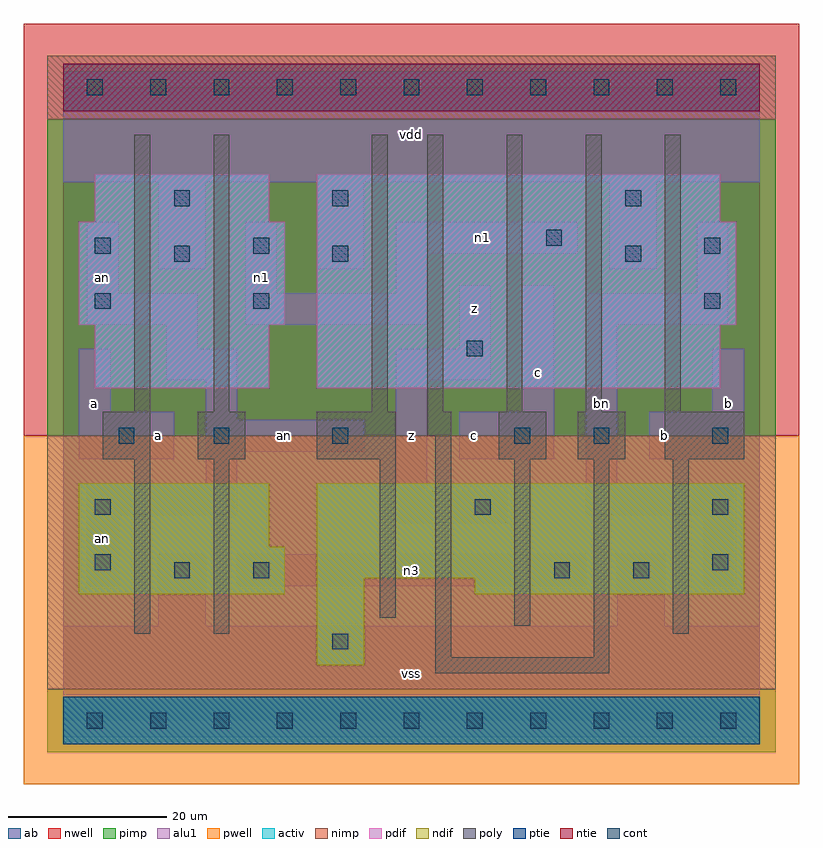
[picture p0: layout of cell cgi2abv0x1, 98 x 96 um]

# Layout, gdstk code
import gdstk
lib = gdstk.Library(unit=1e-6, precision=1e-09)
def R(c, l, rs):  # rectangles x0, y0, x1, y1
    for r in rs: c.add(gdstk.rectangle(r[:2], r[2:], *l))
def A(c, l, x, y, w, h, nx, ny, dx, dy):  # array of equal rectangles
    R(c, l, [(x+i*dx, y+j*dy, x+i*dx+w, y+j*dy+h) for i in range(nx) for j in range(ny)])
ndif = (3, 0)
pdif = (4, 0)
ntie = (5, 0)
ptie = (6, 0)
cont = (25, 0)
pwell = (41, 0)
nwell = (42, 0)
activ = (43, 0)
pimp = (44, 0)
nimp = (45, 0)
poly = (46, 0)
alu1 = (49, 0)
ab = (63, 0)

cgi2abv0x1 = lib.new_cell('cgi2abv0x1')
R(cgi2abv0x1, ndif, [(32,7,38,18), (2,16,28,22), (52,16,86,18), (32,18,86,30), (2,22,26,30)])
R(cgi2abv0x1, pdif, [(4,42,26,50), (32,42,83,50), (2,50,28,63), (32,50,85,63), (4,63,26,69), (32,63,83,69)])
R(cgi2abv0x1, ntie, [(0,77,88,83)])
R(cgi2abv0x1, ptie, [(0,-3,88,3)])
A(cgi2abv0x1, cont, 3, -1, 2, 2, 11, 2, 8, 80)
R(cgi2abv0x1, cont, [(34,9,36,11), (14,18,16,20), (24,18,26,20), (62,18,64,20), (72,18,74,20), (4,19,6,21), (82,19,84,21), (4,26,6,28), (52,26,54,28), (82,26,84,28), (7,35,9,37), (19,35,21,37), (34,35,36,37), (57,35,59,37), (67,35,69,37), (82,35,84,37), (51,46,53,48), (4,52,6,54), (24,52,26,54), (81,52,83,54), (14,58,16,60), (34,58,36,60), (71,58,73,60), (4,59,6,61), (24,59,26,61), (81,59,83,61), (61,60,63,62), (14,65,16,67), (34,65,36,67), (71,65,73,67)])
R(cgi2abv0x1, pwell, [(-5,-8,93,36)])
R(cgi2abv0x1, nwell, [(-5,36,93,88)])
R(cgi2abv0x1, activ, [(0,-3,88,3), (32,7,38,18), (2,16,28,22), (52,16,86,18), (32,18,86,30), (2,22,26,30), (4,42,26,50), (32,42,83,50), (2,50,28,63), (32,50,85,63), (4,63,26,69), (32,63,83,69), (0,77,88,83)])
R(cgi2abv0x1, pimp, [(-2,-4,90,4), (-2,36,90,76)])
R(cgi2abv0x1, nimp, [(-2,4,90,36), (-2,76,90,84)])
A(cgi2abv0x1, poly, 46, 39, 2, 35, 4, 1, 10, 0)
R(cgi2abv0x1, poly, [(47,6,69,8), (47,8,49,36), (67,8,69,33), (9,11,11,33), (19,11,21,33), (77,11,79,33), (57,12,59,33), (40,13,42,33), (5,33,11,39), (17,33,23,39), (32,33,42,39), (55,33,61,39), (65,33,71,39), (76,33,86,39), (46,36,49,39), (9,39,11,74), (19,39,21,74), (39,39,41,74)])
R(cgi2abv0x1, alu1, [(0,-2,88,12), (12,12,18,21), (70,12,76,21), (3,17,7,26), (22,17,66,21), (81,17,85,26), (42,25,56,29), (3,26,22,30), (66,26,85,30), (42,29,46,43), (18,30,22,34), (66,30,70,50), (2,33,14,39), (50,33,62,39), (74,33,86,39), (18,34,38,38), (18,38,22,43), (2,39,6,47), (58,39,62,55), (82,39,86,47), (13,43,22,47), (42,43,54,47), (13,47,17,50), (50,47,54,55), (3,50,17,54), (23,50,46,54), (66,50,84,54), (3,54,7,63), (23,54,27,63), (42,54,46,59), (80,54,84,63), (12,57,18,68), (32,57,38,68), (69,57,75,68), (42,59,65,63), (0,68,88,82)])
R(cgi2abv0x1, ab, [(0,0,88,80)])
cgi2abv0x1.add(gdstk.Label('an', (5,23), layer=49, texttype=0))
cgi2abv0x1.add(gdstk.Label('an', (5,56), layer=49, texttype=0))
cgi2abv0x1.add(gdstk.Label('an', (28,36), layer=49, texttype=0))
cgi2abv0x1.add(gdstk.Label('n1', (25,56), layer=49, texttype=0))
cgi2abv0x1.add(gdstk.Label('n1', (53,61), layer=49, texttype=0))
cgi2abv0x1.add(gdstk.Label('n3', (44,19), layer=49, texttype=0))
cgi2abv0x1.add(gdstk.Label('bn', (68,40), layer=49, texttype=0))
cgi2abv0x1.add(gdstk.Label('a', (12,36), layer=49, texttype=0))
cgi2abv0x1.add(gdstk.Label('a', (4,40), layer=49, texttype=0))
cgi2abv0x1.add(gdstk.Label('vss', (44,6), layer=49, texttype=0))
cgi2abv0x1.add(gdstk.Label('z', (44,36), layer=49, texttype=0))
cgi2abv0x1.add(gdstk.Label('c', (52,36), layer=49, texttype=0))
cgi2abv0x1.add(gdstk.Label('c', (60,44), layer=49, texttype=0))
cgi2abv0x1.add(gdstk.Label('z', (52,52), layer=49, texttype=0))
cgi2abv0x1.add(gdstk.Label('vdd', (44,74), layer=49, texttype=0))
cgi2abv0x1.add(gdstk.Label('b', (76,36), layer=49, texttype=0))
cgi2abv0x1.add(gdstk.Label('b', (84,40), layer=49, texttype=0))

lib.write_gds('cgi2abv0x1.gds')
